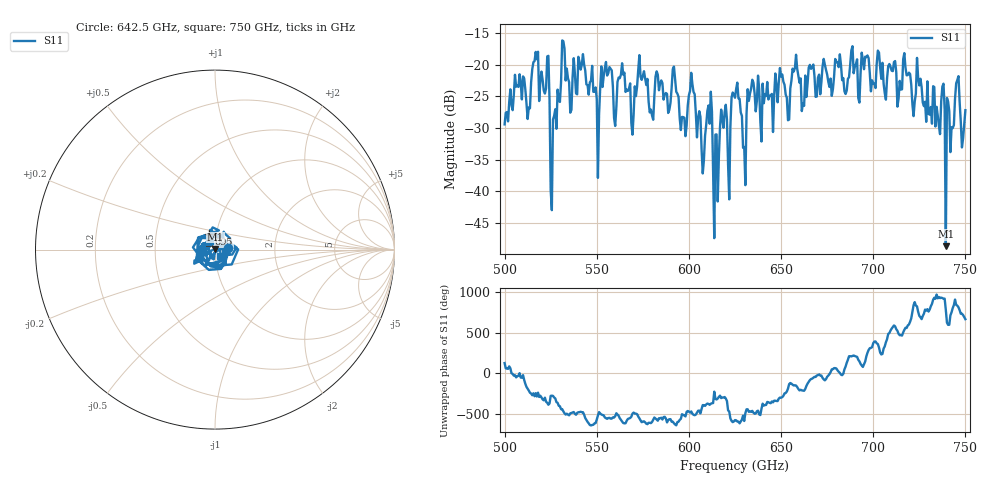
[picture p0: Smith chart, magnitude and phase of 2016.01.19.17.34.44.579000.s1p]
!Created with skrf (http://scikit-rf.org).
# GHz S RI R 50.0
!freq ReS11 ImS11
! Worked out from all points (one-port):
!   401 points, 500 GHz to 750 GHz, reference 50 ohm
!   lowest |S11| = -48.6 dB at 739.4 GHz (marker M1), VSWR 1.01, Z = 50.2 + j0.324 ohm
!   |S11| at or under -10 dB: start of sweep to end of sweep
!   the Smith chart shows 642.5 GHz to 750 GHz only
!   S11 on the Smith chart (normalised r, x): 642.5 GHz: 1.16, +0.02; 695 GHz: 0.92, +0.16; 750 GHz: 1.05, -0.07
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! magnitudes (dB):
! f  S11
! 500 GHz  -29.4
! 513.1 GHz  -26.8
! 516.9 GHz  -18.0
! 523.1 GHz  -18.7
! 526.2 GHz  -28.6
! 531.2 GHz  -16.2
! 550 GHz  -25.4
! 562.5 GHz  -22.1
! 570 GHz  -27.9
! 573.8 GHz  -21.9
! 579.4 GHz  -27.1
! 593.8 GHz  -24.6
! 596.9 GHz  -28.3
! 601.9 GHz  -23.1
! 608.1 GHz  -35.1
! 611.2 GHz  -29.3
! 614.4 GHz  -31.0
! 625 GHz  -25.2
! 630 GHz  -33.0
! 633.1 GHz  -24.6
! 642.5 GHz  -22.7
! 656.2 GHz  -20.6
! 687.5 GHz  -20.0
! 695 GHz  -20.7
! 718.8 GHz  -21.6
! 739.4 GHz  -48.6
! 745.6 GHz  -22.4
! 750 GHz  -27.2
